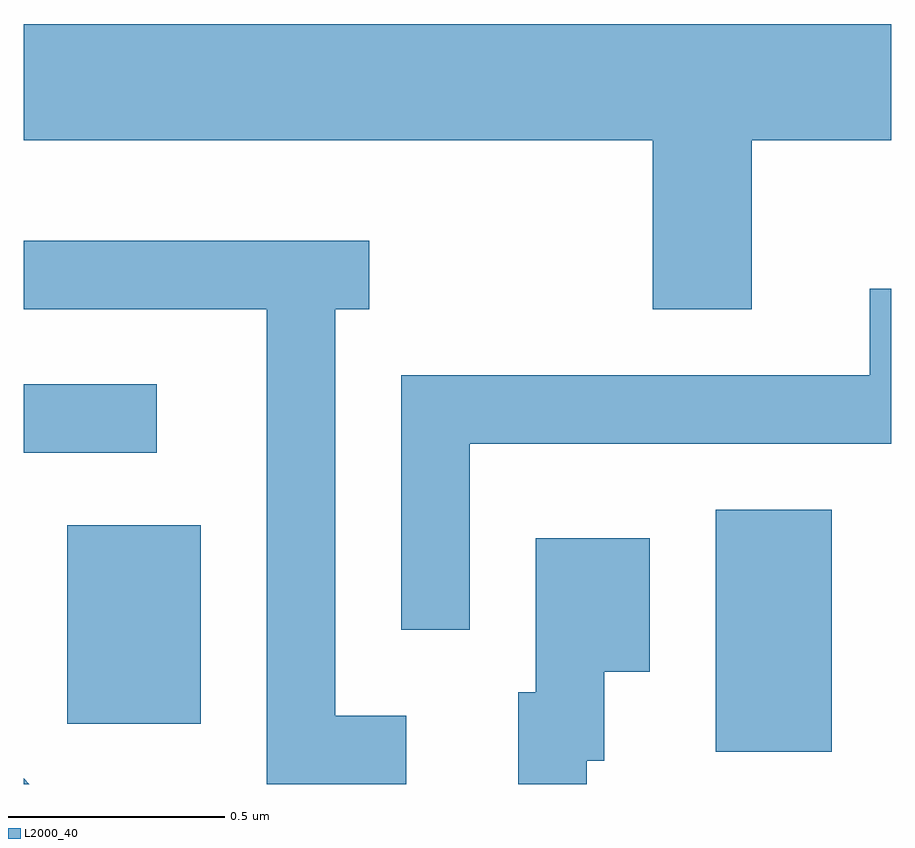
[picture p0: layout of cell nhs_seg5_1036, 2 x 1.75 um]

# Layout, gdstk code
import gdstk
lib = gdstk.Library(unit=1e-6, precision=1e-09)
def R(c, l, rs):  # rectangles x0, y0, x1, y1
    for r in rs: c.add(gdstk.rectangle(r[:2], r[2:], *l))
def P(c, l, *ps):  # polygons
    for p in ps: c.add(gdstk.Polygon(p, *l))
L2000_40 = (2000, 40)

nhs_seg5_1036 = lib.new_cell('nhs_seg5_1036')
R(nhs_seg5_1036, L2000_40, [(194.206,1473.146,194.474,1473.704), (192.711,1473.211,193.019,1473.669), (192.611,1473.836,192.918,1473.994)])
P(nhs_seg5_1036, L2000_40, [(194.289,1474.556),(194.611,1474.556),(194.611,1474.824),(192.611,1474.824),(192.611,1474.556),(194.061,1474.556),(194.061,1474.166),(194.289,1474.166)],
  [(193.493,1473.229),(193.329,1473.229),(193.329,1474.166),(193.408,1474.166),(193.408,1474.324),(192.611,1474.324),(192.611,1474.166),(193.171,1474.166),(193.171,1473.072),(193.493,1473.072)],
  [(193.639,1473.856),(194.611,1473.856),(194.611,1474.214),(194.561,1474.214),(194.561,1474.014),(193.481,1474.014),(193.481,1473.428),(193.639,1473.428)],
  [(193.909,1473.126),(193.949,1473.126),(193.949,1473.331),(194.054,1473.331),(194.054,1473.639),(193.791,1473.639),(193.791,1473.284),(193.751,1473.284),(193.751,1473.072),(193.909,1473.072)],
  [(192.611,1473.085),(192.611,1473.072),(192.624,1473.072)])

lib.write_gds('nhs_seg5_1036.gds')
